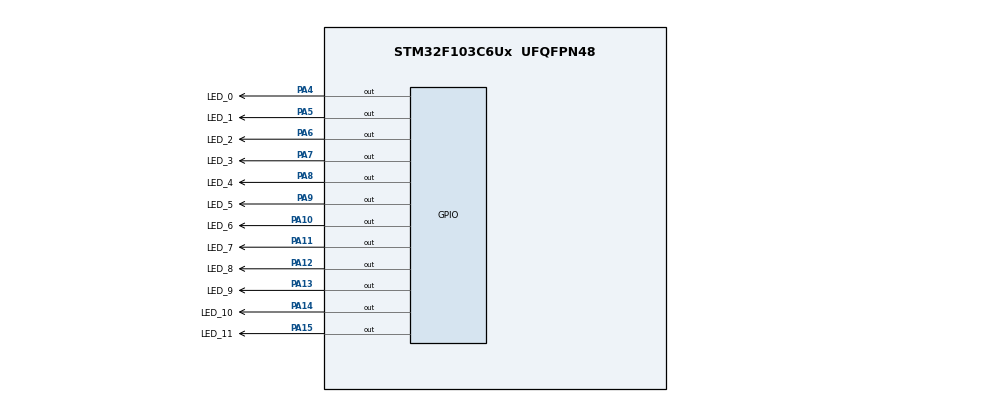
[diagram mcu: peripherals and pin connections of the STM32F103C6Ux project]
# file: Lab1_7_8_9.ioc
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Mcu.Family=STM32F1
Mcu.Name=STM32F103C6Ux
Mcu.Package=UFQFPN48
NVIC.PriorityGroup=NVIC_PRIORITYGROUP_4
PA10.GPIO_Label=LED_6
PA10.Signal=GPIO_Output
PA11.GPIO_Label=LED_7
PA11.Signal=GPIO_Output
PA12.GPIO_Label=LED_8
PA12.Signal=GPIO_Output
PA13.GPIO_Label=LED_9
PA13.Signal=GPIO_Output
PA14.GPIO_Label=LED_10
PA14.Signal=GPIO_Output
PA15.GPIO_Label=LED_11
PA15.Signal=GPIO_Output
PA4.GPIO_Label=LED_0
PA4.Signal=GPIO_Output
PA5.GPIO_Label=LED_1
PA5.Signal=GPIO_Output
PA6.GPIO_Label=LED_2
PA6.Signal=GPIO_Output
PA7.GPIO_Label=LED_3
PA7.Signal=GPIO_Output
PA8.GPIO_Label=LED_4
PA8.Signal=GPIO_Output
PA9.GPIO_Label=LED_5
PA9.Signal=GPIO_Output
ProjectManager.HeapSize=0x200
ProjectManager.StackSize=0x400
ProjectManager.TargetToolchain=STM32CubeIDE
RCC.APB1Freq_Value=8000000
RCC.APB2Freq_Value=8000000
VP_SYS_VS_ND.Mode=No_Debug
board=custom

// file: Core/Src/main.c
/* USER CODE BEGIN Header */
/**
  ******************************************************************************
  * @file           : main.c
  * @brief          : Main program body
  ******************************************************************************
  * @attention
  *
  * <h2><center>&copy; Copyright (c) 2025 STMicroelectronics.
  * All rights reserved.</center></h2>
  *
  * This software component is licensed by ST under BSD 3-Clause license,
  * the "License"; You may not use this file except in compliance with the
  * License. You may obtain a copy of the License at:
  *                        opensource.org/licenses/BSD-3-Clause
  *
  ******************************************************************************
  */
/* USER CODE END Header */
#include "main.h"

/* USER CODE BEGIN PD */
#define ON 0
#define OFF 1
#define INIT 0
#define CLEAR_ALL 1
#define SET 2
#define CLEAR 3
/* USER CODE END PD */

void SystemClock_Config(void);
static void MX_GPIO_Init(void);
/* USER CODE BEGIN PFP */
void led_0(uint8_t n);
void led_1(uint8_t n);
void led_2(uint8_t n);
void led_3(uint8_t n);
void led_4(uint8_t n);
void led_5(uint8_t n);
void led_6(uint8_t n);
void led_7(uint8_t n);
void led_8(uint8_t n);
void led_9(uint8_t n);
void led_10(uint8_t n);
void led_11(uint8_t n);

void clearAllClock();
void setNumberOnClock(int num);
void clearNumberOnClock(int num);
void test(uint16_t* pcount);
/* USER CODE END PFP */

int main(void)
{

  /* MCU Configuration--------------------------------------------------------*/

  /* Reset of all peripherals, Initializes the Flash interface and the Systick. */
  HAL_Init();

  /* Configure the system clock */
  SystemClock_Config();

  /* Initialize all configured peripherals */
  MX_GPIO_Init();
  /* USER CODE BEGIN 2 */
  uint16_t count[1] = {100};
  /* USER CODE END 2 */

  /* Infinite loop */
  /* USER CODE BEGIN WHILE */
  while (1)
  {
	  test(&count[0]);
	  HAL_Delay(10);
    /* USER CODE END WHILE */

  }
}

void SystemClock_Config(void)
{
  RCC_OscInitTypeDef RCC_OscInitStruct = {0};
  RCC_ClkInitTypeDef RCC_ClkInitStruct = {0};

  /** Initializes the RCC Oscillators according to the specified parameters
  * in the RCC_OscInitTypeDef structure.
  */
  RCC_OscInitStruct.OscillatorType = RCC_OSCILLATORTYPE_HSI;
  RCC_OscInitStruct.HSIState = RCC_HSI_ON;
  RCC_OscInitStruct.HSICalibrationValue = RCC_HSICALIBRATION_DEFAULT;
  RCC_OscInitStruct.PLL.PLLState = RCC_PLL_NONE;
  if (HAL_RCC_OscConfig(&RCC_OscInitStruct) != HAL_OK)
  {
    Error_Handler();
  }
  /** Initializes the CPU, AHB and APB buses clocks
  */
  RCC_ClkInitStruct.ClockType = RCC_CLOCKTYPE_HCLK|RCC_CLOCKTYPE_SYSCLK
                              |RCC_CLOCKTYPE_PCLK1|RCC_CLOCKTYPE_PCLK2;
  RCC_ClkInitStruct.SYSCLKSource = RCC_SYSCLKSOURCE_HSI;
  RCC_ClkInitStruct.AHBCLKDivider = RCC_SYSCLK_DIV1;
  RCC_ClkInitStruct.APB1CLKDivider = RCC_HCLK_DIV1;
  RCC_ClkInitStruct.APB2CLKDivider = RCC_HCLK_DIV1;

  if (HAL_RCC_ClockConfig(&RCC_ClkInitStruct, FLASH_LATENCY_0) != HAL_OK)
  {
    Error_Handler();
  }
}

static void MX_GPIO_Init(void)
{
  GPIO_InitTypeDef GPIO_InitStruct = {0};

  /* GPIO Ports Clock Enable */
  __HAL_RCC_GPIOA_CLK_ENABLE();

  /*Configure GPIO pin Output Level */
  HAL_GPIO_WritePin(GPIOA, LED_0_Pin|LED_1_Pin|LED_2_Pin|LED_3_Pin
                          |LED_4_Pin|LED_5_Pin|LED_6_Pin|LED_7_Pin
                          |LED_8_Pin|LED_9_Pin|LED_10_Pin|LED_11_Pin, GPIO_PIN_RESET);

  /*Configure GPIO pins : LED_0_Pin LED_1_Pin LED_2_Pin LED_3_Pin
                           LED_4_Pin LED_5_Pin LED_6_Pin LED_7_Pin
                           LED_8_Pin LED_9_Pin LED_10_Pin LED_11_Pin */
  GPIO_InitStruct.Pin = LED_0_Pin|LED_1_Pin|LED_2_Pin|LED_3_Pin
                          |LED_4_Pin|LED_5_Pin|LED_6_Pin|LED_7_Pin
                          |LED_8_Pin|LED_9_Pin|LED_10_Pin|LED_11_Pin;
  GPIO_InitStruct.Mode = GPIO_MODE_OUTPUT_PP;
  GPIO_InitStruct.Pull = GPIO_NOPULL;
  GPIO_InitStruct.Speed = GPIO_SPEED_FREQ_LOW;
  HAL_GPIO_Init(GPIOA, &GPIO_InitStruct);

}

/* USER CODE BEGIN 4 */
void led_0(uint8_t n){
	HAL_GPIO_WritePin(LED_0_GPIO_Port, LED_0_Pin, n);
}
void led_1(uint8_t n){
	HAL_GPIO_WritePin(LED_1_GPIO_Port, LED_1_Pin, n);
}
void led_2(uint8_t n){
	HAL_GPIO_WritePin(LED_2_GPIO_Port, LED_2_Pin, n);
}
void led_3(uint8_t n){
	HAL_GPIO_WritePin(LED_3_GPIO_Port, LED_3_Pin, n);
}
void led_4(uint8_t n){
	HAL_GPIO_WritePin(LED_4_GPIO_Port, LED_4_Pin, n);
}
void led_5(uint8_t n){
	HAL_GPIO_WritePin(LED_5_GPIO_Port, LED_5_Pin, n);
}
void led_6(uint8_t n){
	HAL_GPIO_WritePin(LED_6_GPIO_Port, LED_6_Pin, n);
}
void led_7(uint8_t n){
	HAL_GPIO_WritePin(LED_7_GPIO_Port, LED_7_Pin, n);
}
void led_8(uint8_t n){
	HAL_GPIO_WritePin(LED_8_GPIO_Port, LED_8_Pin, n);
}
void led_9(uint8_t n){
	HAL_GPIO_WritePin(LED_9_GPIO_Port, LED_9_Pin, n);
}
void led_10(uint8_t n){
	HAL_GPIO_WritePin(LED_10_GPIO_Port, LED_10_Pin, n);
}
void led_11(uint8_t n){
	HAL_GPIO_WritePin(LED_11_GPIO_Port, LED_11_Pin, n);
}

void clearAllClock (){
	led_0(OFF);
	led_1(OFF);
	led_2(OFF);
	led_3(OFF);
	led_4(OFF);
	led_5(OFF);
	led_6(OFF);
	led_7(OFF);
	led_8(OFF);
	led_9(OFF);
	led_10(OFF);
	led_11(OFF);
}
void setNumberOnClock(int num){
	switch(num){
	case 0:
		led_0(ON);
		break;
	case 1:
		led_1(ON);
		break;
	case 2:
		led_2(ON);
		break;
	case 3:
		led_3(ON);
		break;
	case 4:
		led_4(ON);
		break;
	case 5:
		led_5(ON);
		break;
	case 6:
		led_6(ON);
		break;
	case 7:
		led_7(ON);
		break;
	case 8:
		led_8(ON);
		break;
	case 9:
		led_9(ON);
		break;
	case 10:
		led_10(ON);
		break;
	case 11:
		led_11(ON);
		break;
	}

}
void clearNumberOnClock(int num){
	switch(num){
	case 0:
		led_0(OFF);
		break;
	case 1:
		led_1(OFF);
		break;
	case 2:
		led_2(OFF);
		break;
	case 3:
		led_3(OFF);
		break;
	case 4:
		led_4(OFF);
		break;
	case 5:
		led_5(OFF);
		break;
	case 6:
		led_6(OFF);
		break;
	case 7:
		led_7(OFF);
		break;
	case 8:
		led_8(OFF);
		break;
	case 9:
		led_9(OFF);
		break;
	case 10:
		led_10(OFF);
		break;
	case 11:
		led_11(OFF);
		break;
	}

}

void test(uint16_t* pcount){
	static uint8_t state = INIT;
	static int num = 0;

	switch(state){
	case INIT:
		led_0(ON);
		led_1(ON);
		led_2(ON);
		led_3(ON);
		led_4(ON);
		led_5(ON);
		led_6(ON);
		led_7(ON);
		led_8(ON);
		led_9(ON);
		led_10(ON);
		led_11(ON);

		if(*pcount == 0){
			*pcount = 100;
			state = CLEAR_ALL;
		}
		break;
	case CLEAR_ALL:
		if(*pcount == 0){
			clearAllClock();
			*pcount = 100;
			state = SET;
		}
		break;
	case SET:
		if(*pcount == 0){
			setNumberOnClock(num++);
			*pcount = 50;
			if(num == 12){
				num = 0;
				state = CLEAR;
			}
		}
		break;
	case CLEAR:
		if(*pcount == 0){
			clearNumberOnClock(num++);
			*pcount = 50;
			if(num == 12){
				num = 0;
				state = SET;
			}
		}
		break;
	}
	--*pcount;
}

/* USER CODE END 4 */

void Error_Handler(void)
{
  __disable_irq();
  while (1)
  {
  }
}

/************************ (C) COPYRIGHT STMicroelectronics *****END OF FILE****/
